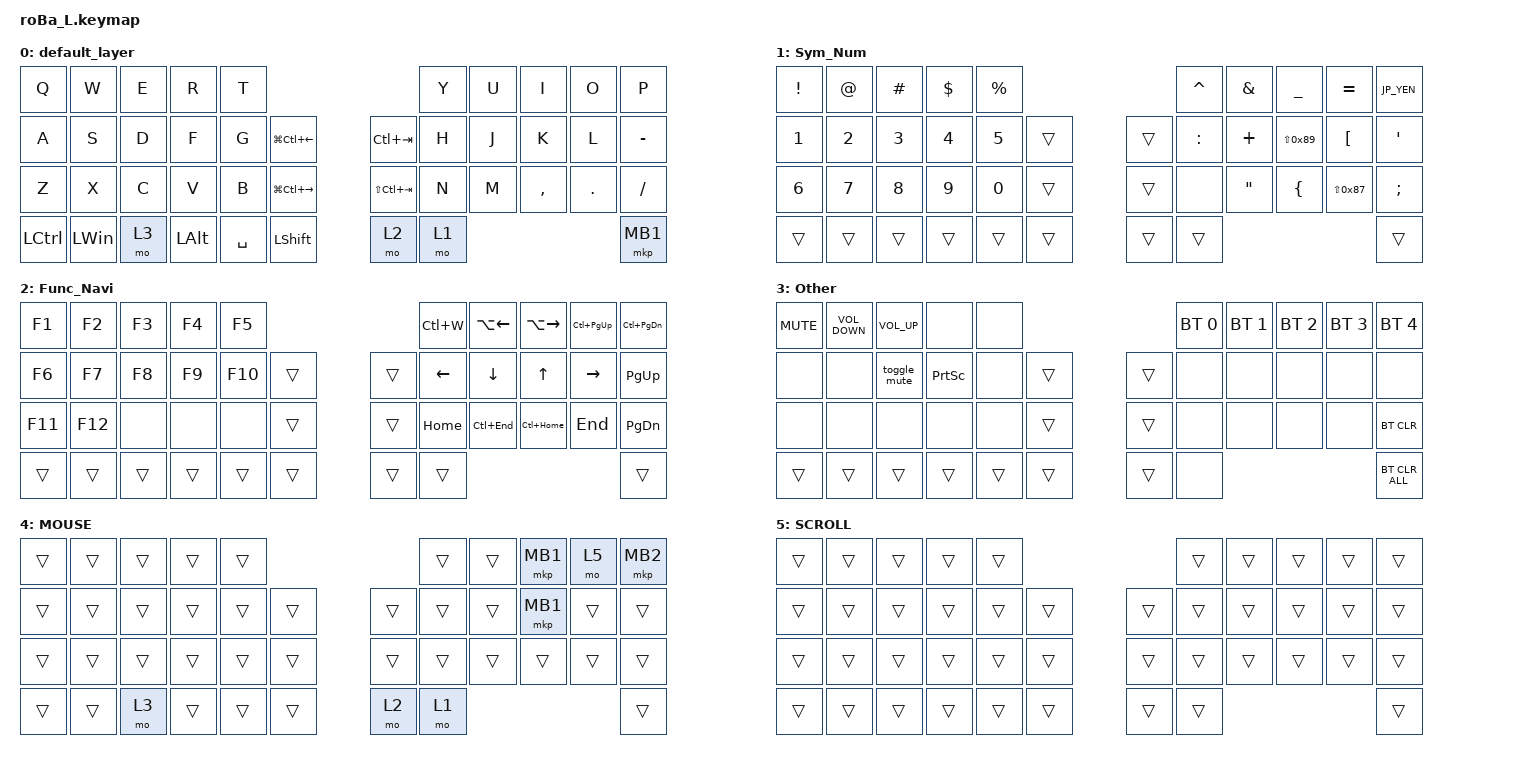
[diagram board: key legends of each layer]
#include <behaviors.dtsi>
#include <dt-bindings/zmk/bt.h>
#include <dt-bindings/zmk/keys.h>
#include <dt-bindings/zmk/pointing.h>

// OS設定を日本語キーボードのまま使用するための変換定義
#define JP_DQUOTE       AT                // "
#define JP_AMPERSAND    CARET             // &
#define JP_QUOTE        AMPERSAND         // '
#define JP_EQUAL        UNDER             // =
#define JP_CARET        EQUAL             // ^
#define JP_YEN          0x89              // ¥
#define JP_PLUS         COLON             // +
#define JP_TILDE        PLUS              // ~
#define JP_PIPE         LS(0x89)          // |
#define JP_AT           LEFT_BRACKET      // @
#define JP_COLON        SINGLE_QUOTE      // :
#define JP_ASTERISK     DOUBLE_QUOTES     // *
#define JP_BACKQUOTE    LEFT_BRACE        // `
#define JP_UNDERSCORE   LS(0x87)          // _
#define JP_LBRACKET     RIGHT_BRACKET     // [
#define JP_RBRACKET     BACKSLASH         // ]
#define JP_LPAREN       ASTERISK          // (
#define JP_RPAREN       LEFT_PARENTHESIS  // )
#define JP_LBRACE       RIGHT_BRACE       // {
#define JP_RBRACE       PIPE              // }
#define JP_KANA         LANGUAGE_1        // かな
#define JP_EISU         LANGUAGE_2        // 英数
#define JP_HANZEN       GRAVE             // 半角/全角
//

#define MOUSE 4
#define SCROLL 5

/ {
    combos {
        compatible = "zmk,combos";

        qw_as_esc_eisu {
            bindings = <&esc_eisu>;
            key-positions = <0 1>;
            timeout-ms = <25>;
        };

        we_as_ctrl_alt_tab {
            bindings = <&kp LA(LC(TAB))>;
            key-positions = <1 2>;
            timeout-ms = <25>;
        };

        // O(8)+P(9) で BACKSPACE。&kp 直接バインドなので押しっぱなしで OS リピート=連打が効く。
        // ※コンボ→マクロ経由だと hold が伝播せず連打にならないため、連打優先で直接 &kp にしている。
        //   この方式では BS では AML(MOUSE) を自動解除しない(BS後の通常文字入力で自然に解除される)。
        op_as_bs {
            bindings = <&kp BACKSPACE>;
            key-positions = <8 9>;
            timeout-ms = <25>;
        };

        pl_as_del {
            bindings = <&kp DELETE>;
            key-positions = <9 20>;
            timeout-ms = <25>;
        };

        ko_as_lclick {
            bindings = <&mkp MB1>;
            key-positions = <8 19>;
            timeout-ms = <25>;
        };

        o_min_as_rclick {
            bindings = <&mkp MB2>;
            key-positions = <8 21>;
            timeout-ms = <25>;
        };

        uo_as_lbrac {
            bindings = <&kp JP_LBRACKET>;
            key-positions = <6 8>;
            timeout-ms = <25>;
        };

        ip_as_rbrac {
            bindings = <&kp JP_RBRACKET>;
            key-positions = <7 9>;
            timeout-ms = <25>;
        };

        jl_as_lparen {
            bindings = <&kp JP_LPAREN>;
            key-positions = <18 20>;
            timeout-ms = <25>;
        };

        kmin_as_rparen {
            bindings = <&kp JP_RPAREN>;
            key-positions = <19 21>;
            timeout-ms = <25>;
        };

        mdot_as_lbrace {
            bindings = <&kp JP_LBRACE>;
            key-positions = <30 32>;
            timeout-ms = <25>;
        };

        comslash_as_rbrace {
            bindings = <&kp JP_RBRACE>;
            key-positions = <31 33>;
            timeout-ms = <25>;
        };

        up_as_brackets {
            bindings = <&brackets>;
            key-positions = <6 9>;
            timeout-ms = <25>;
        };

        jmin_as_parentheses  {
            bindings = <&parentheses>;
            key-positions = <18 21>;
            timeout-ms = <25>;
        };

        df_as_eisu {
            bindings = <&kp JP_EISU>;
            key-positions = <13 12>;
            timeout-ms = <25>;
        };

        jk_as_kana {
            bindings = <&kp JP_KANA>;
            key-positions = <19 18>;
            timeout-ms = <25>;
        };

        sd_as_tab {
            bindings = <&kp TAB>;
            key-positions = <11 12>;
            timeout-ms = <25>;
        };

        kl_as_enter {
            bindings = <&kp ENTER>;
            key-positions = <20 19>;
            timeout-ms = <25>;
        };

        wt_as_alt_f4 {
            bindings = <&kp LA(F4)>;
            key-positions = <1 4>;
            timeout-ms = <25>;
        };

        yunm_as_bootloader {
            bindings = <&bootloader>;
            key-positions = <5 6 29 30>;
            timeout-ms = <25>;
        };

        zx_as_ctrl_z {
            bindings = <&kp LC(Z)>;
            key-positions = <22 23>;
            timeout-ms = <25>;
        };

        xc_as_ctrl_x {
            bindings = <&kp LC(X)>;
            key-positions = <23 24>;
            timeout-ms = <25>;
        };

        cv_as_ctrl_c {
            bindings = <&kp LC(C)>;
            key-positions = <24 25>;
            timeout-ms = <25>;
        };

        vb_as_ctrl_v {
            bindings = <&kp LC(V)>;
            key-positions = <25 26>;
            timeout-ms = <25>;
        };
    };

    macros {
        parentheses: parentheses {
            compatible = "zmk,behavior-macro";
            #binding-cells = <0>;
            bindings = <&kp JP_LPAREN &kp JP_RPAREN &kp LEFT>;
            label = "PARENTHESES";
        };

        brackets: brackets {
            compatible = "zmk,behavior-macro";
            #binding-cells = <0>;
            bindings = <&kp JP_LBRACKET &kp JP_RBRACKET &kp LEFT>;
            label = "BRACKETS";
        };

        esc_eisu: esc_eisu {
            compatible = "zmk,behavior-macro";
            #binding-cells = <0>;
            bindings = <&kp ESCAPE &kp JP_EISU>;
            label = "ESC_EISU";
        };

        toggle_mute: toggle_mute {
            compatible = "zmk,behavior-macro";
            #binding-cells = <0>;
            bindings = <&kp LA(A) &kp LC(LS(M))>;
            label = "TOGGLE_MUTE";
            wait-ms = <5>;
            tap-ms = <5>;
        };
    };

    keymap {
        compatible = "zmk,keymap";
        default_layer {
            bindings = <
&kp Q      &kp W         &kp E  &kp R         &kp T                                                        &kp Y  &kp U  &kp I      &kp O    &kp P
&kp A      &kp S         &kp D  &kp F         &kp G      &kp LG(LC(LEFT_ARROW))   &kp LC(TAB)              &kp H  &kp J  &kp K      &kp L    &kp MINUS
&kp Z      &kp X         &kp C  &kp V         &kp B      &kp LG(LC(RIGHT_ARROW))  &kp LS(LC(TAB))          &kp N  &kp M  &kp COMMA  &kp DOT  &kp SLASH
&kp LCTRL  &kp LEFT_WIN  &mo 3  &kp LEFT_ALT  &kp SPACE  &kp LEFT_SHIFT           &mo 2                    &mo 1                             &mkp MB1
            >;
        };

        Sym_Num {
            bindings = <
&kp EXCLAMATION  &kp JP_DQUOTE  &kp HASH      &kp DOLLAR    &kp PERCENT                      &kp JP_AMPERSAND  &kp JP_QUOTE     &kp JP_EQUAL      &kp JP_CARET       &kp JP_YEN
&kp NUMBER_1     &kp NUMBER_2   &kp NUMBER_3  &kp NUMBER_4  &kp NUMBER_5  &trans     &trans  &kp JP_PLUS       &kp JP_TILDE     &kp JP_PIPE       &kp JP_AT          &kp JP_COLON
&kp NUMBER_6     &kp NUMBER_7   &kp NUMBER_8  &kp NUMBER_9  &kp NUMBER_0  &trans     &trans  &none             &kp JP_ASTERISK  &kp JP_BACKQUOTE  &kp JP_UNDERSCORE  &kp SEMICOLON 
&trans           &trans         &trans        &trans        &trans        &trans     &trans  &trans                                                                  &trans
            >;
        };

        Func_Navi {
            bindings = <
&kp F1   &kp F2   &kp F3  &kp F4  &kp F5                      &kp LC(W)       &kp LA(LEFT)    &kp LA(RIGHT)  &kp LC(PAGE_UP)  &kp LC(PAGE_DOWN)
&kp F6   &kp F7   &kp F8  &kp F9  &kp F10  &trans     &trans  &kp LEFT_ARROW  &kp DOWN_ARROW  &kp UP_ARROW   &kp RIGHT_ARROW  &kp PAGE_UP
&kp F11  &kp F12  &none   &none   &none    &trans     &trans  &kp HOME        &kp LC(END)     &kp LC(HOME)   &kp END          &kp PAGE_DOWN
&trans   &trans   &trans  &trans  &trans   &trans     &trans  &trans                                                          &trans
            >;
        };

        Other {
            bindings = <
&kp C_MUTE  &kp C_VOLUME_DOWN  &kp C_VOLUME_UP  &none            &none                      &bt BT_SEL 0  &bt BT_SEL 1  &bt BT_SEL 2  &bt BT_SEL 3  &bt BT_SEL 4   
&none       &none              &toggle_mute     &kp PRINTSCREEN  &none   &trans     &trans  &none         &none         &none         &none         &none          
&none       &none              &none            &none            &none   &trans     &trans  &none         &none         &none         &none         &bt BT_CLR     
&trans      &trans             &trans           &trans           &trans  &trans     &trans  &none                                                   &bt BT_CLR_ALL 
            >;
        };

        MOUSE {
            bindings = <
&trans  &trans  &trans          &trans  &trans                             &trans          &trans  &mkp MB1  &mo 5   &mkp MB2
&trans  &trans  &trans          &trans  &trans  &trans     &trans          &trans          &trans  &mkp MB1  &trans  &trans
&trans  &trans  &trans          &trans  &trans  &trans     &trans          &trans          &trans  &trans    &trans  &trans
&trans  &trans  &mo 3           &trans  &trans  &trans     &mo 2           &mo 1                                     &trans
            >;
        };

        SCROLL {
            bindings = <
&trans  &trans  &trans  &trans  &trans                      &trans  &trans  &trans  &trans  &trans
&trans  &trans  &trans  &trans  &trans  &trans      &trans  &trans  &trans  &trans  &trans  &trans
&trans  &trans  &trans  &trans  &trans  &trans      &trans  &trans  &trans  &trans  &trans  &trans
&trans  &trans  &trans  &trans  &trans  &trans      &trans  &trans                          &trans
            >;
        };
    };
};
